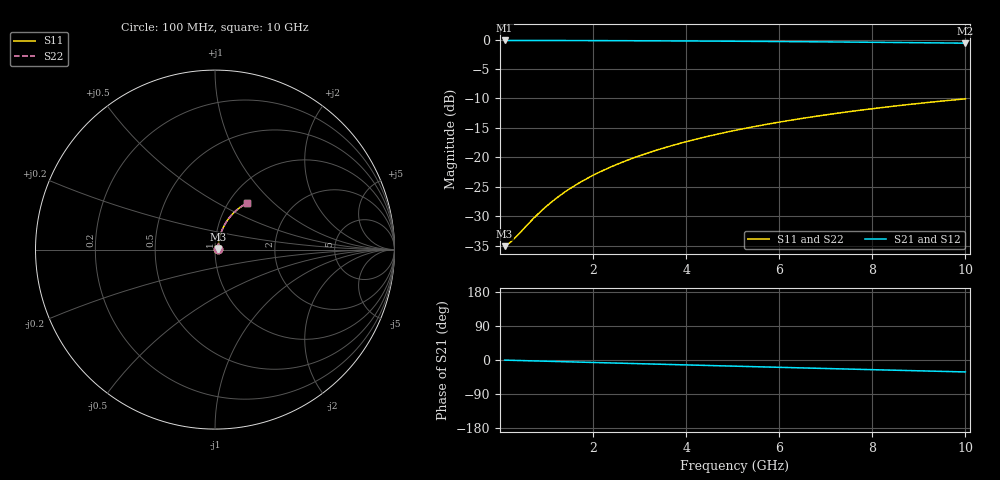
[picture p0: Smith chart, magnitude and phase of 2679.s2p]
# Hz S RI R 50.00
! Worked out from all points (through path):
!   100 points, 100 MHz to 10 GHz, reference 50 ohm
!   highest |S21| = -0.15 dB at 100 MHz (marker M1); lowest = -0.6 dB at 10 GHz (marker M2)
!   group delay of S21, straight-line fit = 8.77 ps
!   lowest |S11| = -35.1 dB at 100 MHz (marker M3), VSWR 1.04, Z = 51.8 + j0.344 ohm
!   |S11| at or under -10 dB: start of sweep to end of sweep
!   |S22| runs from -35.1 to -10.1 dB; largest |S21 - S12| = 0
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1e8  0.0173 0.00332  0.9827 -0.00559  0.9827 -0.00559  0.0173 0.00332
2e8  0.0175 0.00663  0.9825 -0.0112  0.9825 -0.0112  0.0175 0.00663
3e8  0.0177 0.00995  0.9823 -0.0168  0.9823 -0.0168  0.0177 0.00995
8e8  0.019 0.0265  0.9809 -0.0447  0.9809 -0.0447  0.019 0.0265
9e8  0.0193 0.0298  0.9805 -0.0502  0.9805 -0.0502  0.0193 0.0298
1.1e9  0.0201 0.0363  0.9795 -0.0613  0.9795 -0.0613  0.0201 0.0363
1.4e9  0.0216 0.0461  0.9778 -0.078  0.9778 -0.078  0.0216 0.0461
1.6e9  0.0228 0.0526  0.9765 -0.089  0.9765 -0.089  0.0228 0.0526
1.8e9  0.0241 0.0591  0.975 -0.1001  0.975 -0.1001  0.0241 0.0591
2.1e9  0.0264 0.0688  0.9724 -0.1165  0.9724 -0.1165  0.0264 0.0688
2.5e9  0.0299 0.0815  0.9685 -0.1383  0.9685 -0.1383  0.0299 0.0815
2.9e9  0.0339 0.094  0.9638 -0.1599  0.9638 -0.1599  0.0339 0.094
3.4e9  0.0397 0.1093  0.9572 -0.1866  0.9572 -0.1866  0.0397 0.1093
3.8e9  0.045 0.1212  0.9512 -0.2077  0.9512 -0.2077  0.045 0.1212
4.2e9  0.0507 0.1329  0.9445 -0.2285  0.9445 -0.2285  0.0507 0.1329
4.6e9  0.057 0.1442  0.9374 -0.249  0.9374 -0.249  0.057 0.1442
5.1e9  0.0655 0.158  0.9276 -0.2742  0.9276 -0.2742  0.0655 0.158
5.9e9  0.0805 0.1787  0.9102 -0.3133  0.9102 -0.3133  0.0805 0.1787
6.7e9  0.0971 0.1979  0.8909 -0.3508  0.8909 -0.3508  0.0971 0.1979
7.5e9  0.1151 0.2154  0.8698 -0.3867  0.8698 -0.3867  0.1151 0.2154
8.4e9  0.1369 0.2329  0.8442 -0.4249  0.8442 -0.4249  0.1369 0.2329
1e10  0.1784 0.2582  0.7946 -0.4872  0.7946 -0.4872  0.1784 0.2582
